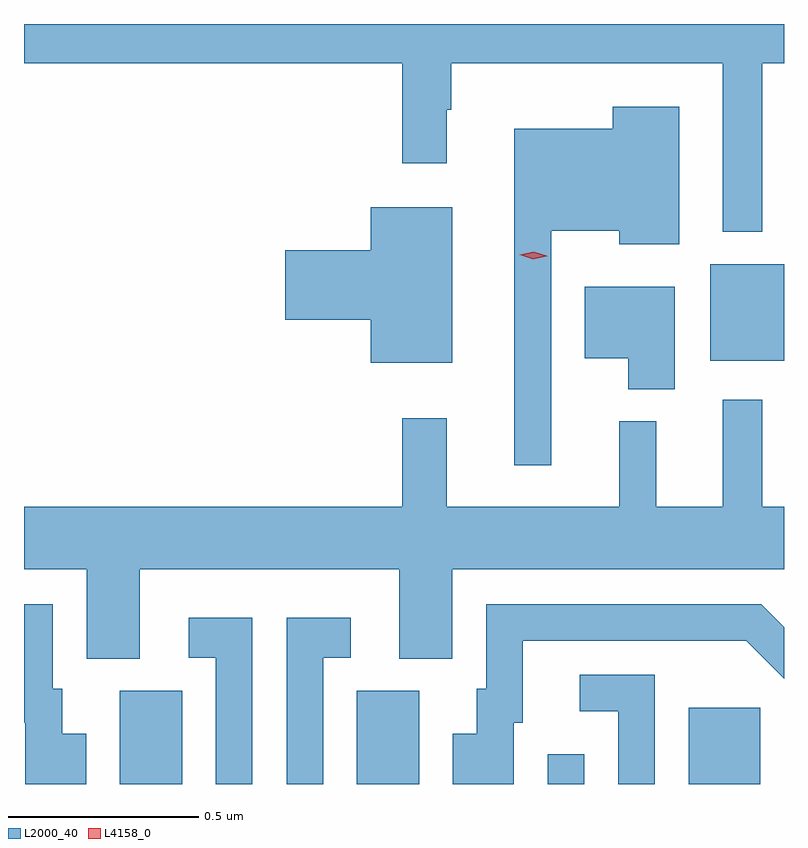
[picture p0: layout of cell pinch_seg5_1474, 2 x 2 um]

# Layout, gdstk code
import gdstk
lib = gdstk.Library(unit=1e-6, precision=1e-09)
def R(c, l, rs):  # rectangles x0, y0, x1, y1
    for r in rs: c.add(gdstk.rectangle(r[:2], r[2:], *l))
def P(c, l, *ps):  # polygons
    for p in ps: c.add(gdstk.Polygon(p, *l))
L2000_40 = (2000, 40)
L4158_0 = (4158, 0)

pinch_seg5_1474 = lib.new_cell('pinch_seg5_1474')
R(pinch_seg5_1474, L2000_40, [(126.29,906.811,126.454,907.056), (126.914,906.811,127.078,907.056), (127.416,906.811,127.512,906.889), (127.787,906.811,127.975,907.012), (127.844,907.925,128.038,908.179)])
P(pinch_seg5_1474, L2000_40, [(127.981,908.708),(128.038,908.708),(128.038,908.811),(126.038,908.811),(126.038,908.708),(127.033,908.708),(127.033,908.445),(127.15,908.445),(127.15,908.585),(127.162,908.585),(127.162,908.708),(127.877,908.708),(127.877,908.264),(127.981,908.264)],
  [(127.425,908.267),(127.604,908.267),(127.604,908.231),(127.762,908.231),(127.762,908.593),(127.587,908.593),(127.587,908.536),(127.328,908.536),(127.328,907.65),(127.425,907.65)],
  [(127.165,908.329),(126.95,908.329),(126.95,908.216),(126.726,908.216),(126.726,908.033),(126.95,908.033),(126.95,907.919),(127.165,907.919)],
  [(127.75,908.119),(127.514,908.119),(127.514,907.931),(127.628,907.931),(127.628,907.85),(127.75,907.85)],
  [(126.343,907.376),(127.025,907.376),(127.025,907.141),(127.165,907.141),(127.165,907.376),(128.038,907.376),(128.038,907.54),(127.981,907.54),(127.981,907.822),(127.877,907.822),(127.877,907.54),(127.702,907.54),(127.702,907.765),(127.604,907.765),(127.604,907.54),(127.151,907.54),(127.151,907.774),(127.033,907.774),(127.033,907.54),(126.038,907.54),(126.038,907.376),(126.203,907.376),(126.203,907.141),(126.343,907.141)],
  [(126.202,906.943),(126.139,906.943),(126.139,907.062),(126.114,907.062),(126.114,907.284),(126.038,907.284),(126.038,906.972),(126.041,906.972),(126.041,906.811),(126.202,906.811)],
  [(127.327,906.972),(127.351,906.972),(127.351,907.188),(127.939,907.188),(128.038,907.088),(128.038,907.224),(127.978,907.284),(127.254,907.284),(127.254,907.062),(127.229,907.062),(127.229,906.943),(127.166,906.943),(127.166,906.811),(127.327,906.811)],
  [(126.825,907.143),(126.898,907.143),(126.898,907.249),(126.729,907.249),(126.729,906.811),(126.825,906.811)],
  [(126.639,907.249),(126.471,907.249),(126.471,907.143),(126.543,907.143),(126.543,906.811),(126.639,906.811)],
  [(127.698,907.098),(127.5,907.098),(127.5,907.002),(127.602,907.002),(127.602,906.811),(127.698,906.811)])
P(pinch_seg5_1474, L4158_0, [(127.378,908.192),(127.343,908.204),(127.343,908.204),(127.343,908.204),(127.379,908.212),(127.414,908.201),(127.415,908.2),(127.414,908.2)])

lib.write_gds('pinch_seg5_1474.gds')
